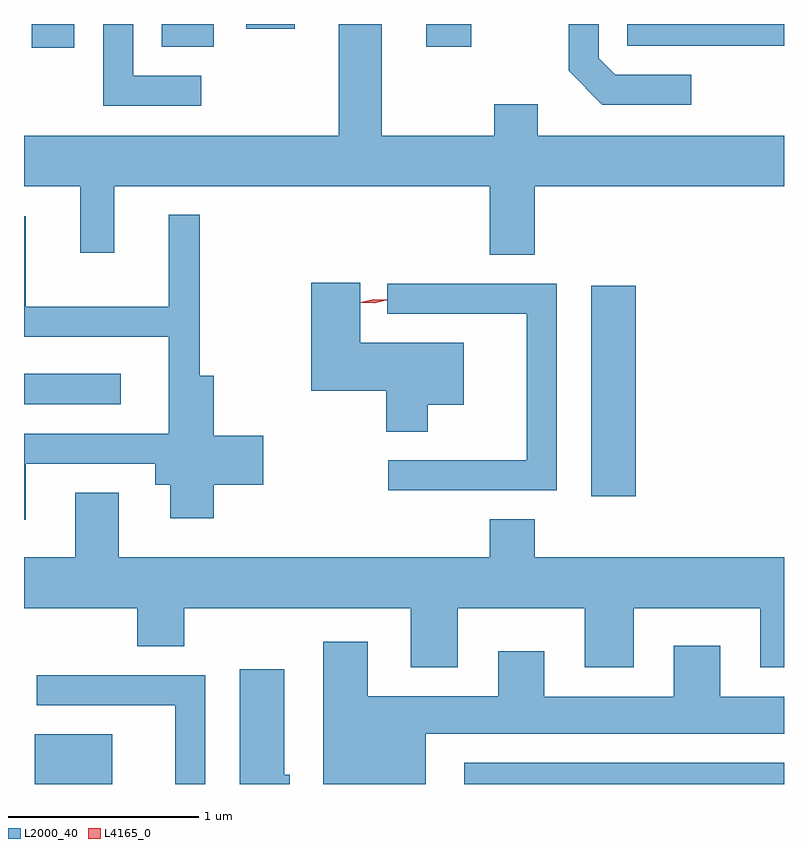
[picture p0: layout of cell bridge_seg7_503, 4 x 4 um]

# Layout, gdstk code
import gdstk
lib = gdstk.Library(unit=1e-6, precision=1e-09)
def R(c, l, rs):  # rectangles x0, y0, x1, y1
    for r in rs: c.add(gdstk.rectangle(r[:2], r[2:], *l))
def P(c, l, *ps):  # polygons
    for p in ps: c.add(gdstk.Polygon(p, *l))
L2000_40 = (2000, 40)
L4165_0 = (4165, 0)

bridge_seg7_503 = lib.new_cell('bridge_seg7_503')
R(bridge_seg7_503, L2000_40, [(1329.731,1728.931,1330.139,1729.194), (1331.993,1728.931,1333.675,1729.044), (1332.661,1730.446,1332.894,1731.554), (1329.675,1730.931,1330.183,1731.089), (1329.716,1732.806,1329.939,1732.931), (1330.401,1732.811,1330.674,1732.931), (1331.791,1732.811,1332.028,1732.931), (1332.851,1732.816,1333.675,1732.931), (1330.846,1732.906,1331.099,1732.931)])
P(bridge_seg7_503, L2000_40, [(1332.364,1732.076),(1333.675,1732.076),(1333.675,1732.344),(1332.379,1732.344),(1332.379,1732.509),(1332.151,1732.509),(1332.151,1732.344),(1331.559,1732.344),(1331.559,1732.931),(1331.331,1732.931),(1331.331,1732.344),(1329.675,1732.344),(1329.675,1732.076),(1329.971,1732.076),(1329.971,1731.726),(1330.149,1731.726),(1330.149,1732.076),(1332.126,1732.076),(1332.126,1731.716),(1332.364,1731.716)],
  [(1333.188,1732.664),(1332.787,1732.664),(1332.699,1732.752),(1332.699,1732.931),(1332.541,1732.931),(1332.541,1732.684),(1332.719,1732.506),(1333.188,1732.506)],
  [(1330.608,1732.659),(1330.249,1732.659),(1330.249,1732.931),(1330.091,1732.931),(1330.091,1732.501),(1330.608,1732.501)],
  [(1329.684,1730.616),(1330.366,1730.616),(1330.366,1730.506),(1330.446,1730.506),(1330.446,1730.331),(1330.674,1730.331),(1330.674,1730.506),(1330.934,1730.506),(1330.934,1730.764),(1330.674,1730.764),(1330.674,1731.079),(1330.599,1731.079),(1330.599,1731.928),(1330.436,1731.928),(1330.436,1731.444),(1329.684,1731.444),(1329.684,1731.919),(1329.675,1731.919),(1329.675,1731.286),(1330.436,1731.286),(1330.436,1730.774),(1329.675,1730.774),(1329.675,1730.323),(1329.684,1730.323)],
  [(1331.799,1730.926),(1331.989,1730.926),(1331.989,1731.254),(1331.444,1731.254),(1331.444,1731.569),(1331.186,1731.569),(1331.186,1731.001),(1331.581,1731.001),(1331.581,1730.786),(1331.799,1730.786)],
  [(1332.479,1731.564),(1331.588,1731.564),(1331.588,1731.406),(1332.321,1731.406),(1332.321,1730.634),(1331.593,1730.634),(1331.593,1730.476),(1332.479,1730.476)],
  [(1331.959,1729.856),(1332.626,1729.856),(1332.626,1729.546),(1332.884,1729.546),(1332.884,1729.856),(1333.551,1729.856),(1333.551,1729.546),(1333.675,1729.546),(1333.675,1730.124),(1332.364,1730.124),(1332.364,1730.324),(1332.126,1730.324),(1332.126,1730.124),(1330.174,1730.124),(1330.174,1730.464),(1329.946,1730.464),(1329.946,1730.124),(1329.675,1730.124),(1329.675,1729.856),(1330.271,1729.856),(1330.271,1729.656),(1330.519,1729.656),(1330.519,1729.856),(1331.711,1729.856),(1331.711,1729.546),(1331.959,1729.546)],
  [(1331.789,1729.196),(1333.675,1729.196),(1333.675,1729.389),(1333.339,1729.389),(1333.339,1729.659),(1333.096,1729.659),(1333.096,1729.389),(1332.414,1729.389),(1332.414,1729.629),(1332.171,1729.629),(1332.171,1729.394),(1331.484,1729.394),(1331.484,1729.679),(1331.251,1729.679),(1331.251,1728.931),(1331.789,1728.931)],
  [(1331.074,1728.979),(1331.044,1728.979),(1331.044,1729.534),(1330.811,1729.534),(1330.811,1728.931),(1331.074,1728.931)],
  [(1330.629,1729.504),(1329.743,1729.504),(1329.743,1729.346),(1330.471,1729.346),(1330.471,1728.931),(1330.629,1728.931)])
P(bridge_seg7_503, L4165_0, [(1331.518,1731.463),(1331.448,1731.466),(1331.448,1731.466),(1331.448,1731.467),(1331.516,1731.483),(1331.585,1731.48),(1331.586,1731.48),(1331.585,1731.479)],
  [(1331.518,1731.461),(1331.451,1731.464),(1331.45,1731.465),(1331.451,1731.465),(1331.516,1731.481),(1331.582,1731.478),(1331.583,1731.477),(1331.582,1731.477)])

lib.write_gds('bridge_seg7_503.gds')
